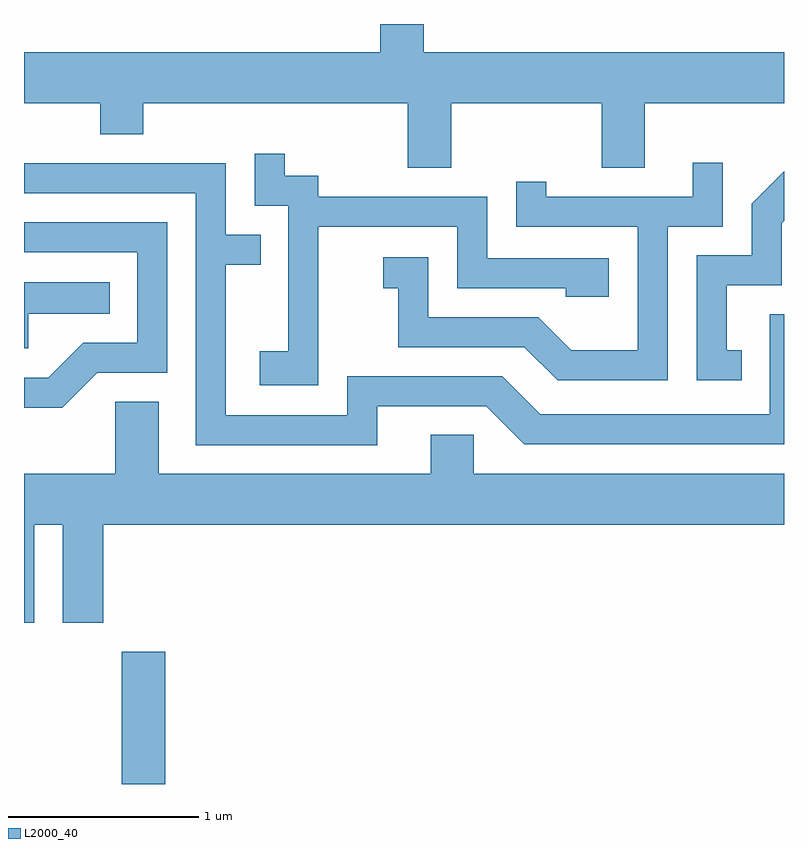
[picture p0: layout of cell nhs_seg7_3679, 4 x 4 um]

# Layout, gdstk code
import gdstk
lib = gdstk.Library(unit=1e-6, precision=1e-09)
def R(c, l, rs):  # rectangles x0, y0, x1, y1
    for r in rs: c.add(gdstk.rectangle(r[:2], r[2:], *l))
def P(c, l, *ps):  # polygons
    for p in ps: c.add(gdstk.Polygon(p, *l))
L2000_40 = (2000, 40)

nhs_seg7_3679 = lib.new_cell('nhs_seg7_3679')
R(nhs_seg7_3679, L2000_40, [(298.126,1746.252,298.354,1746.949)])
P(nhs_seg7_3679, L2000_40, [(299.859,1749.836),(300.651,1749.836),(300.651,1749.496),(300.879,1749.496),(300.879,1749.836),(301.611,1749.836),(301.611,1750.104),(299.714,1750.104),(299.714,1750.252),(299.486,1750.252),(299.486,1750.104),(297.611,1750.104),(297.611,1749.836),(298.011,1749.836),(298.011,1749.671),(298.239,1749.671),(298.239,1749.836),(299.631,1749.836),(299.631,1749.496),(299.859,1749.496)],
  [(299.159,1749.186),(299.891,1749.186),(299.891,1748.861),(300.461,1748.861),(300.461,1748.816),(300.689,1748.816),(300.689,1749.019),(300.049,1749.019),(300.049,1749.344),(299.159,1749.344),(299.159,1749.454),(298.984,1749.454),(298.984,1749.568),(298.826,1749.568),(298.826,1749.296),(299.001,1749.296),(299.001,1748.529),(298.851,1748.529),(298.851,1748.351),(299.159,1748.351)],
  [(300.999,1749.186),(301.289,1749.186),(301.289,1749.523),(301.131,1749.523),(301.131,1749.344),(300.359,1749.344),(300.359,1749.423),(300.201,1749.423),(300.201,1749.186),(300.841,1749.186),(300.841,1748.534),(300.492,1748.534),(300.317,1748.709),(299.739,1748.709),(299.739,1749.024),(299.503,1749.024),(299.503,1748.861),(299.581,1748.861),(299.581,1748.551),(300.244,1748.551),(300.419,1748.376),(300.999,1748.376)],
  [(299.469,1748.241),(300.044,1748.241),(300.244,1748.041),(301.611,1748.041),(301.611,1748.724),(301.536,1748.724),(301.536,1748.199),(300.327,1748.199),(300.127,1748.399),(299.311,1748.399),(299.311,1748.194),(298.674,1748.194),(298.674,1748.986),(298.858,1748.986),(298.858,1749.144),(298.674,1749.144),(298.674,1749.519),(297.611,1749.519),(297.611,1749.361),(298.516,1749.361),(298.516,1748.036),(299.469,1748.036)],
  [(301.388,1748.534),(301.309,1748.534),(301.309,1748.876),(301.599,1748.876),(301.599,1749.204),(301.611,1749.216),(301.611,1749.476),(301.441,1749.307),(301.441,1749.034),(301.151,1749.034),(301.151,1748.376),(301.388,1748.376)],
  [(297.997,1748.416),(298.364,1748.416),(298.364,1749.209),(297.611,1749.209),(297.611,1749.051),(298.206,1749.051),(298.206,1748.574),(297.924,1748.574),(297.739,1748.389),(297.611,1748.389),(297.611,1748.231),(297.812,1748.231)],
  [(297.634,1748.726),(298.063,1748.726),(298.063,1748.894),(297.611,1748.894),(297.611,1748.546),(297.634,1748.546)],
  [(297.664,1747.616),(297.816,1747.616),(297.816,1747.101),(298.029,1747.101),(298.029,1747.616),(301.611,1747.616),(301.611,1747.884),(299.979,1747.884),(299.979,1748.089),(299.751,1748.089),(299.751,1747.884),(298.319,1747.884),(298.319,1748.264),(298.091,1748.264),(298.091,1747.884),(297.611,1747.884),(297.611,1747.101),(297.664,1747.101)])

lib.write_gds('nhs_seg7_3679.gds')
